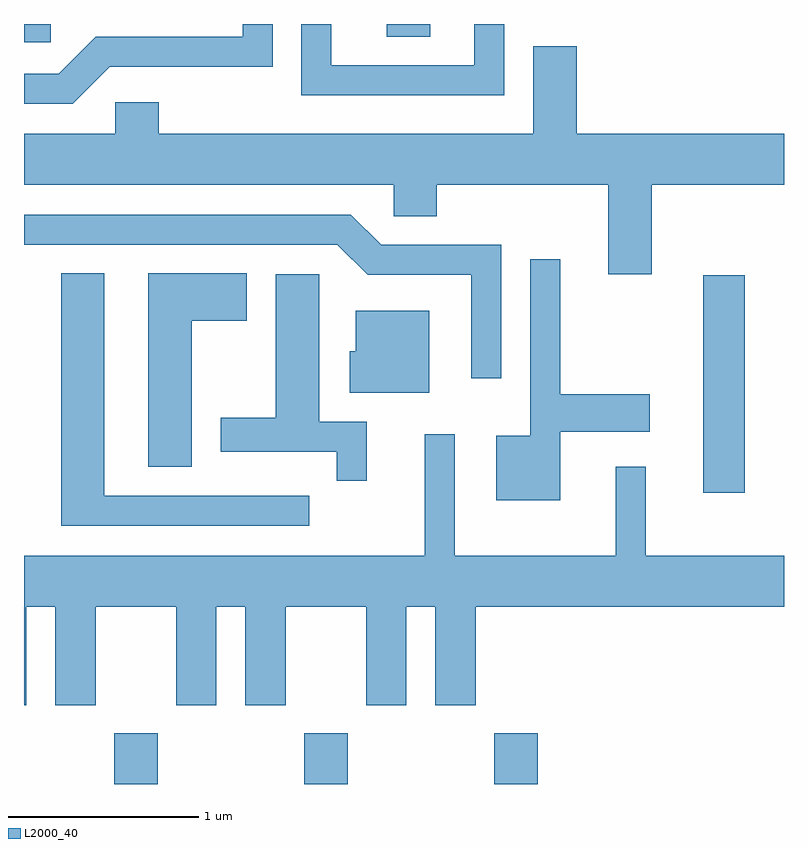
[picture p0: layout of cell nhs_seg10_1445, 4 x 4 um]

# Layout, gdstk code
import gdstk
lib = gdstk.Library(unit=1e-6, precision=1e-09)
def R(c, l, rs):  # rectangles x0, y0, x1, y1
    for r in rs: c.add(gdstk.rectangle(r[:2], r[2:], *l))
def A(c, l, x, y, w, h, nx, ny, dx, dy):  # array of equal rectangles
    R(c, l, [(x+i*dx, y+j*dy, x+i*dx+w, y+j*dy+h) for i in range(nx) for j in range(ny)])
def P(c, l, *ps):  # polygons
    for p in ps: c.add(gdstk.Polygon(p, *l))
L2000_40 = (2000, 40)

nhs_seg10_1445 = lib.new_cell('nhs_seg10_1445')
A(nhs_seg10_1445, L2000_40, 228.086, 2128.522, 0.228, 0.267, 3, 1, 1, 0)
R(nhs_seg10_1445, L2000_40, [(231.186,2130.056,231.404,2131.199), (227.611,2132.426,227.753,2132.522), (229.521,2132.456,229.749,2132.522)])
P(nhs_seg10_1445, L2000_40, [(230.139,2132.522),(229.981,2132.522),(229.981,2132.304),(229.229,2132.304),(229.229,2132.522),(229.071,2132.522),(229.071,2132.146),(230.139,2132.146)],
  [(228.062,2132.296),(228.919,2132.296),(228.919,2132.522),(228.761,2132.522),(228.761,2132.454),(227.989,2132.454),(227.794,2132.259),(227.611,2132.259),(227.611,2132.101),(227.867,2132.101)],
  [(230.914,2131.676),(231.611,2131.676),(231.611,2131.944),(230.519,2131.944),(230.519,2132.404),(230.291,2132.404),(230.291,2131.944),(228.319,2131.944),(228.319,2132.109),(228.091,2132.109),(228.091,2131.944),(227.611,2131.944),(227.611,2131.676),(229.556,2131.676),(229.556,2131.511),(229.784,2131.511),(229.784,2131.676),(230.686,2131.676),(230.686,2131.206),(230.914,2131.206)],
  [(230.124,2131.359),(229.492,2131.359),(229.332,2131.519),(227.611,2131.519),(227.611,2131.361),(229.259,2131.361),(229.419,2131.201),(229.966,2131.201),(229.966,2130.658),(230.124,2130.658)],
  [(230.434,2130.376),(230.904,2130.376),(230.904,2130.574),(230.434,2130.574),(230.434,2131.283),(230.276,2131.283),(230.276,2130.354),(230.096,2130.354),(230.096,2130.016),(230.434,2130.016)],
  [(229.113,2130.039),(228.034,2130.039),(228.034,2131.209),(227.806,2131.209),(227.806,2129.881),(229.113,2129.881)],
  [(228.494,2130.961),(228.784,2130.961),(228.784,2131.209),(228.266,2131.209),(228.266,2130.191),(228.494,2130.191)],
  [(229.414,2130.429),(229.164,2130.429),(229.164,2131.204),(228.936,2131.204),(228.936,2130.449),(228.646,2130.449),(228.646,2130.271),(229.256,2130.271),(229.256,2130.118),(229.414,2130.118)],
  [(229.744,2131.014),(229.356,2131.014),(229.356,2130.799),(229.326,2130.799),(229.326,2130.581),(229.744,2130.581)],
  [(227.624,2129.456),(227.776,2129.456),(227.776,2128.936),(227.989,2128.936),(227.989,2129.456),(228.411,2129.456),(228.411,2128.936),(228.624,2128.936),(228.624,2129.456),(228.776,2129.456),(228.776,2128.936),(228.989,2128.936),(228.989,2129.456),(229.411,2129.456),(229.411,2128.936),(229.624,2128.936),(229.624,2129.456),(229.776,2129.456),(229.776,2128.936),(229.989,2128.936),(229.989,2129.456),(231.611,2129.456),(231.611,2129.724),(230.884,2129.724),(230.884,2130.193),(230.726,2130.193),(230.726,2129.724),(229.879,2129.724),(229.879,2130.363),(229.721,2130.363),(229.721,2129.724),(227.611,2129.724),(227.611,2128.936),(227.624,2128.936)])

lib.write_gds('nhs_seg10_1445.gds')
